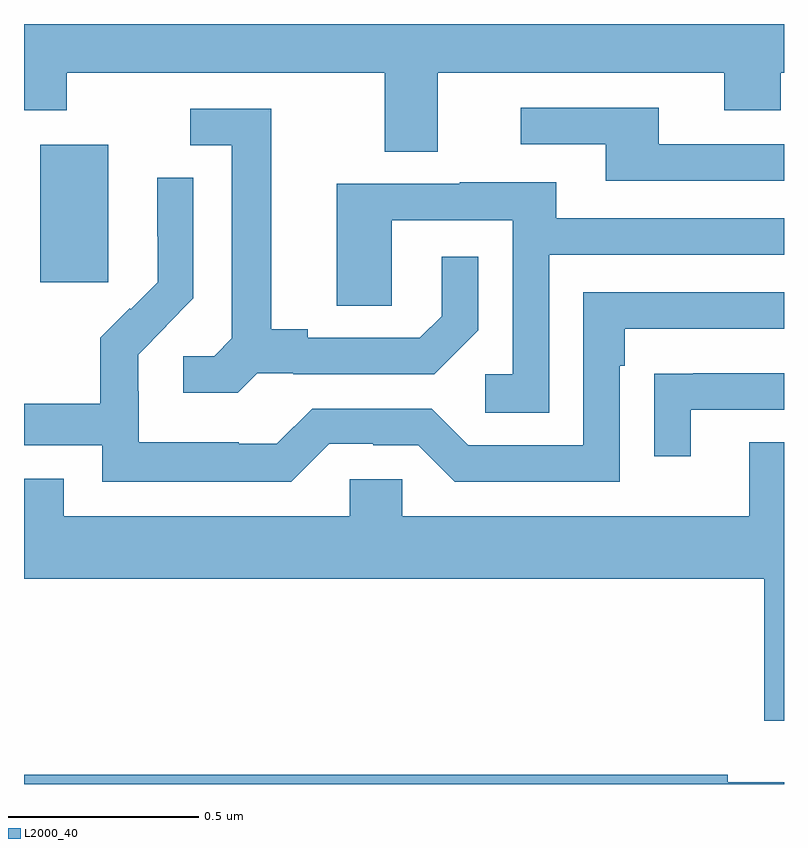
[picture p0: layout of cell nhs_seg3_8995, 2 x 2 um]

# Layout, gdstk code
import gdstk
lib = gdstk.Library(unit=1e-6, precision=1e-09)
def R(c, l, rs):  # rectangles x0, y0, x1, y1
    for r in rs: c.add(gdstk.rectangle(r[:2], r[2:], *l))
def P(c, l, *ps):  # polygons
    for p in ps: c.add(gdstk.Polygon(p, *l))
L2000_40 = (2000, 40)

nhs_seg3_8995 = lib.new_cell('nhs_seg3_8995')
R(nhs_seg3_8995, L2000_40, [(223.043,677.721,223.222,678.082)])
P(nhs_seg3_8995, L2000_40, [(224.089,678.272),(224.843,678.272),(224.843,678.173),(224.991,678.173),(224.991,678.272),(225,678.272),(225,678.4),(223,678.4),(223,678.173),(223.113,678.173),(223.113,678.272),(223.949,678.272),(223.949,678.064),(224.089,678.064)],
  [(225,678.084),(224.671,678.084),(224.671,678.18),(224.307,678.18),(224.307,678.084),(224.531,678.084),(224.531,677.988),(225,677.988)],
  [(223.614,677.481),(223.708,677.481),(223.708,677.478),(224.08,677.478),(224.196,677.594),(224.196,677.788),(224.099,677.788),(224.099,677.631),(224.042,677.574),(223.747,677.574),(223.747,677.597),(223.651,677.597),(223.651,678.177),(223.437,678.177),(223.437,678.081),(223.547,678.081),(223.547,677.573),(223.5,677.526),(223.419,677.526),(223.419,677.429),(223.562,677.429)],
  [(223.803,677.295),(223.919,677.295),(223.919,677.292),(224.037,677.292),(224.133,677.196),(224.568,677.196),(224.568,677.501),(224.581,677.501),(224.581,677.598),(225,677.598),(225,677.694),(224.472,677.694),(224.472,677.292),(224.169,677.292),(224.073,677.388),(223.758,677.388),(223.665,677.295),(223.565,677.295),(223.565,677.299),(223.302,677.299),(223.302,677.433),(223.3,677.433),(223.3,677.53),(223.374,677.604),(223.373,677.605),(223.446,677.678),(223.446,677.996),(223.35,677.996),(223.35,677.842),(223.352,677.842),(223.352,677.72),(223.281,677.649),(223.278,677.652),(223.201,677.575),(223.201,677.401),(223,677.401),(223,677.292),(223.206,677.292),(223.206,677.195),(223.703,677.195)],
  [(224.382,677.793),(225,677.793),(225,677.889),(224.401,677.889),(224.401,677.983),(224.147,677.983),(224.147,677.979),(223.823,677.979),(223.823,677.659),(223.968,677.659),(223.968,677.883),(224.286,677.883),(224.286,677.478),(224.214,677.478),(224.214,677.377),(224.382,677.377)],
  [(224.755,677.385),(225,677.385),(225,677.481),(224.761,677.481),(224.761,677.48),(224.659,677.48),(224.659,677.262),(224.755,677.262)],
  [(225,677.299),(224.909,677.299),(224.909,677.104),(223.995,677.104),(223.995,677.202),(223.857,677.202),(223.857,677.104),(223.105,677.104),(223.105,677.203),(223,677.203),(223,676.94),(224.948,676.94),(224.948,676.566),(225,676.566)],
  [(225,676.405),(224.852,676.405),(224.852,676.424),(223,676.424),(223,676.4),(225,676.4)])

lib.write_gds('nhs_seg3_8995.gds')
